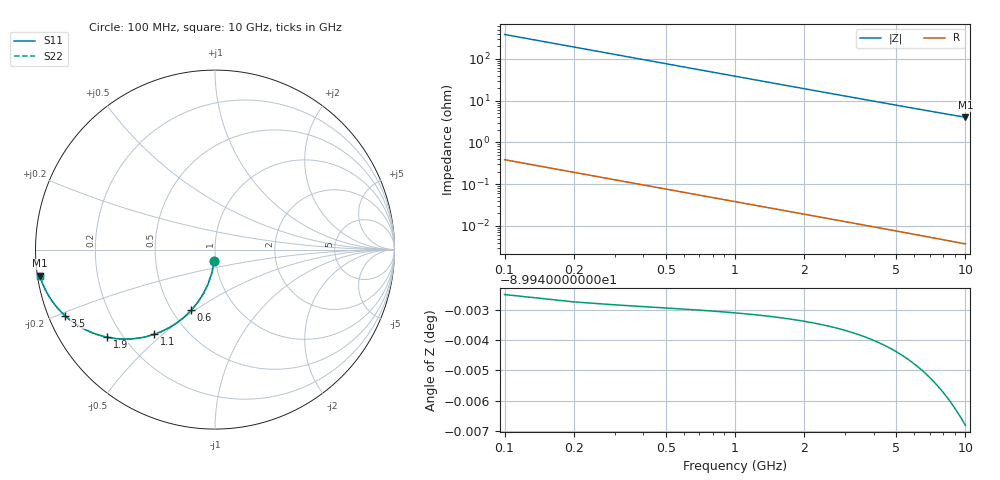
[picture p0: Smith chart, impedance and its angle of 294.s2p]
# Hz S RI R 50.00
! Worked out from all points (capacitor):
!   100 points, 100 MHz to 10 GHz, reference 50 ohm
!   read as one part in shunt: C = 4.14 pF near 100 MHz
!   lowest |Z| = 4 ohm at 10 GHz (marker M1)
!   S11 on the Smith chart (normalised r, x): 100 MHz: 0.98, -0.13; 600 MHz: 0.62, -0.48; 1.1 GHz: 0.33, -0.47; 1.9 GHz: 0.14, -0.35; 3.5 GHz: 0.05, -0.21; 10 GHz: 0.01, -0.07
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1e8  -0.00426 -0.0647  0.9957 -0.0648  0.9957 -0.0648  -0.00426 -0.0647
2e8  -0.0167 -0.1277  0.9833 -0.1279  0.9833 -0.1279  -0.0167 -0.1277
3e8  -0.0368 -0.1876  0.9632 -0.1879  0.9632 -0.1879  -0.0368 -0.1876
4e8  -0.0635 -0.2431  0.9365 -0.2435  0.9365 -0.2435  -0.0635 -0.2431
5e8  -0.0956 -0.2933  0.9043 -0.2939  0.9043 -0.2939  -0.0956 -0.2933
6e8  -0.1321 -0.3377  0.8679 -0.3384  0.8679 -0.3384  -0.1321 -0.3377
8e8  -0.2126 -0.4083  0.7873 -0.4091  0.7873 -0.4091  -0.2126 -0.4083
9e8  -0.2546 -0.4347  0.7454 -0.4356  0.7454 -0.4356  -0.2546 -0.4347
1.1e9  -0.3376 -0.4718  0.6624 -0.473  0.6624 -0.473  -0.3376 -0.4718
1.4e9  -0.4518 -0.4964  0.5482 -0.4979  0.5482 -0.4979  -0.4518 -0.4964
1.8e9  -0.5761 -0.4927  0.4239 -0.4946  0.4239 -0.4946  -0.5761 -0.4927
1.9e9  -0.6021 -0.488  0.3978 -0.49  0.3978 -0.49  -0.6021 -0.488
2.2e9  -0.6695 -0.4687  0.3305 -0.471  0.3305 -0.471  -0.6695 -0.4687
2.6e9  -0.7385 -0.4376  0.2615 -0.4403  0.2615 -0.4403  -0.7385 -0.4376
3e9  -0.7896 -0.4055  0.2104 -0.4087  0.2104 -0.4087  -0.7896 -0.4055
3.4e9  -0.828 -0.3751  0.172 -0.3787  0.172 -0.3787  -0.828 -0.3751
3.5e9  -0.836 -0.3679  0.1639 -0.3716  0.1639 -0.3716  -0.836 -0.3679
4.2e9  -0.8799 -0.3223  0.1201 -0.3268  0.1201 -0.3268  -0.8799 -0.3223
5.1e9  -0.9151 -0.2754  0.0848 -0.2809  0.0848 -0.2809  -0.9151 -0.2754
6.7e9  -0.9489 -0.216  0.051 -0.2232  0.051 -0.2232  -0.9489 -0.216
8.4e9  -0.9669 -0.1737  0.033 -0.1828  0.033 -0.1828  -0.9669 -0.1737
1e10  -0.9765 -0.1454  0.0234 -0.1564  0.0234 -0.1564  -0.9765 -0.1454
